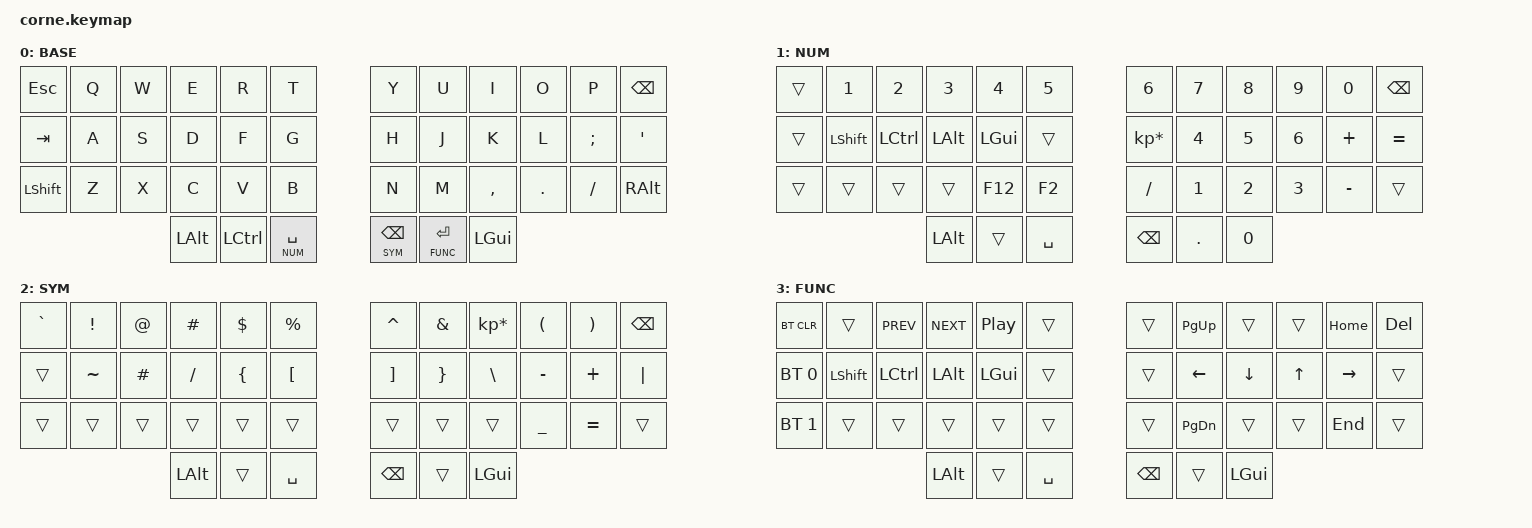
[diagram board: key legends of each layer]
/*
 * Copyright (c) 2020 The ZMK Contributors
 *
 * SPDX-License-Identifier: MIT
 */

#include <behaviors.dtsi>
#include <dt-bindings/zmk/keys.h>
#include <dt-bindings/zmk/bt.h>

#define BASE 0
#define NUM 1
#define SYM 2
#define FUNC 3

/ {
        keymap {
                compatible = "zmk,keymap";

                default_layer {
                        label = "BASE";
                        bindings = <
                                //╭──────────┬──────────┬──────────┬──────────┬──────────┬──────────╮             ╭──────────┬──────────┬──────────┬──────────┬──────────┬──────────╮
                                //│  ESC     │  Q       │  W       │  E       │  R       │  T       │             │  Y       │  U       │  I       │  O       │  P       │  BKSP    │
                                     &kp ESC    &kp Q      &kp W      &kp E      &kp R      &kp T                    &kp Y      &kp U      &kp I      &kp O      &kp P      &kp BSPC
                                //├──────────┼──────────┼──────────┼──────────┼──────────┼──────────┤             ├──────────┼──────────┼──────────┼──────────┼──────────┼──────────┤
                                //│  TAB     │  A       │  S       │  D       │  F       │  G       │             │  H       │  J       │  K       │  L       │  ;       │ '        │
                                     &kp TAB  &kp A      &kp S      &kp D      &kp F      &kp G                    &kp H      &kp J      &kp K      &kp L      &kp SEMI  &kp SQT
                                //├──────────┼──────────┼──────────┼──────────┼──────────┼──────────┤             ├──────────┼──────────┼──────────┼──────────┼──────────┼──────────┤
                                //│  SHIFT   │  Z       │  X       │  C       │  V       │  B       │             │  N       │  M       │  ,       │  .       │  /       │ ALT      │
                                     &kp LSHFT  &kp Z      &kp X      &kp C      &kp V      &kp B                    &kp N      &kp M      &kp COMMA  &kp DOT    &kp FSLH  &kp RALT
                                //╰──────────┴──────────┴──────────┼──────────┼──────────┤──────────┤             ├──────────┼──────────┼──────────┼──────────┴──────────┴──────────╯
                                                                  &kp LALT  &kp LCTRL  &lt NUM SPACE          &lt SYM BSPC  &lt FUNC RET  &kp LGUI
                                //                                 ╰──────────┴──────────┴──────────╯             ╰──────────┴──────────┴──────────╯
                        >;
                };

                number_layer {
                        label = "NUM";
                        bindings = <
                                //╭──────────┬──────────┬──────────┬──────────┬──────────┬──────────╮             ╭──────────┬──────────┬──────────┬──────────┬──────────┬──────────╮
                                //│          │  1       │  2       │  3       │  4       │  5       │             │  6       │  7       │  8       │  9       │  0       │ BKSP     │
                                    &trans     &kp N1     &kp N2     &kp N3     &kp N4     &kp N5                   &kp N6     &kp N7     &kp N8     &kp N9     &kp N0    &kp BSPC
                                //├──────────┼──────────┼──────────┼──────────┼──────────┼──────────┤             ├──────────┼──────────┼──────────┼──────────┼──────────┼──────────┤
                                //│          │  LSHFT   │   LCTRL  │   LALT   │   LGUI   │          │             │  *       │  4       │  5       │  6       │  +       │ =        │
                                     &trans   &kp LSHFT  &kp LCTRL   &kp LALT   &kp LGUI     &trans              &kp KP_MULTIPLY &kp N4    &kp N5      &kp N6     &kp PLUS  &kp EQUAL
                                //├──────────┼──────────┼──────────┼──────────┼──────────┼──────────┤             ├──────────┼──────────┼──────────┼──────────┼──────────┼──────────┤
                                //│          │          │          │          │  console │    F2    │             │  /       │  1       │  2       │  3       │  -       │          │
                                   &trans     &trans      &trans      &trans      &kp F12    &kp F2                  &kp FSLH    &kp N1     &kp N2      &kp N3    &kp MINUS  &trans
                                //╰──────────┴──────────┴──────────┼──────────┼──────────┤──────────┤             ├──────────┼──────────┼──────────┼──────────┴──────────┴──────────╯
                                                                     &kp LALT   &trans    &kp SPACE                 &kp BSPC    &kp DOT    &kp N0
                                //                                 ╰──────────┴──────────┴──────────╯             ╰──────────┴──────────┴──────────╯
                        >;
                };

                symbol_layer {
                        label = "SYM";
                        bindings = <
                                //╭──────────┬──────────┬──────────┬──────────┬──────────┬──────────╮             ╭──────────┬──────────┬──────────┬──────────┬──────────┬──────────╮
                                //│  `       │  !       │  @       │  #       │  $       │  %       │             │  ^       │  &       │  *       │  (       │  )       │ BKSP     │
                                   &kp GRAVE   &kp EXCL  &kp AT     &kp HASH    &kp DLLR   &kp PRCNT            &kp CARET  &kp AMPS  &kp KP_MULTIPLY  &kp LPAR   &kp RPAR   &kp BSPC
                                //├──────────┼──────────┼──────────┼──────────┼──────────┼──────────┤             ├──────────┼──────────┼──────────┼──────────┼──────────┼──────────┤
                                //│          │  ~       │  #       │  /       │  {       │  [       │             │  ]       │  }       │  \       │  -       │  +       │ |        │
                                     &trans    &kp TILDE  &kp HASH  &kp FSLH   &kp LBRC    &kp LBKT                &kp RBKT    &kp RBRC  &kp BSLH    &kp MINUS  &kp PLUS   &kp PIPE
                                //├──────────┼──────────┼──────────┼──────────┼──────────┼──────────┤             ├──────────┼──────────┼──────────┼──────────┼──────────┼──────────┤
                                //│          │          │          │          │          │          │             │          │          │          │  _       │  =       │          │
                                      &trans     &trans    &trans     &trans    &trans      &trans                   &trans     &trans     &trans     &kp UNDER  &kp EQUAL &trans
                                //╰──────────┴──────────┴──────────┼──────────┼──────────┤──────────┤             ├──────────┼──────────┼──────────┼──────────┴──────────┴──────────╯
                                                                     &kp LALT   &trans     &kp SPACE                &kp BSPC    &trans    &kp LGUI
                                //                                 ╰──────────┴──────────┴──────────╯             ╰──────────┴──────────┴──────────╯
                        >;
                };

                
                function_layer {
                        label = "FUNC";
                        bindings = <
                                //╭──────────┬──────────┬──────────┬──────────┬──────────┬──────────╮             ╭──────────┬──────────┬──────────┬──────────┬──────────┬──────────╮
                                //│   BTCLR  │          │  prev    │   next   │play/pause│          │             │          │  PGUP    │          │          │  HOME    │ DEL      │
                                  &bt BT_CLR    &trans    &kp C_PREV &kp C_NEXT  &kp C_PP  &trans                   &trans  &kp PG_UP   &trans    &trans     &kp HOME     &kp DEL
                                //├──────────┼──────────┼──────────┼──────────┼──────────┼──────────┤             ├──────────┼──────────┼──────────┼──────────┼──────────┼──────────┤
                                //│  BT1     │  LSHFT   │   LCTRL  │   LALT   │   LGUI   │          │             │          │  LFT     │  DWN     │  UP      │  RGT     │          │
                                &bt BT_SEL 0  &kp LSHFT  &kp LCTRL   &kp LALT   &kp LGUI   &trans                &trans    &kp LEFT   &kp DOWN    &kp UP    &kp RIGHT   &trans
                                //├──────────┼──────────┼──────────┼──────────┼──────────┼──────────┤             ├──────────┼──────────┼──────────┼──────────┼──────────┼──────────┤
                                //│  BT2     │          │          │          │          │          │             │          │  PGDWN   │          │          │   END    │          │
                                 &bt BT_SEL 1   &trans    &trans   &trans   &trans    &trans                 &trans     &kp PG_DN  &trans     &trans    &kp END     &trans
                                //╰──────────┴──────────┴──────────┼──────────┼──────────┤──────────┤             ├──────────┼──────────┼──────────┼──────────┴──────────┴──────────╯
                                                                    &kp LALT   &trans     &kp SPACE                &kp BSPC    &trans     &kp LGUI
                                //                                 ╰──────────┴──────────┴──────────╯             ╰──────────┴──────────┴──────────╯
                        >;
                };

        };
};
